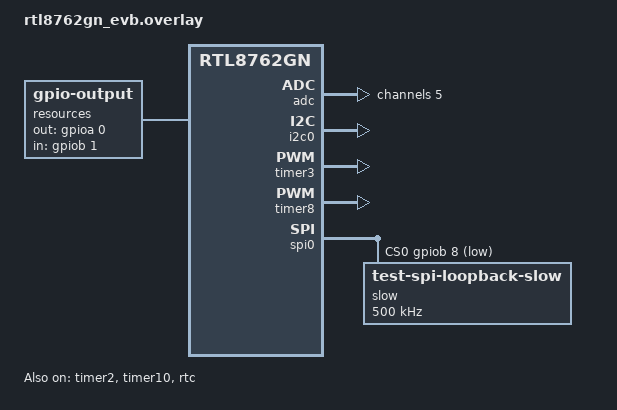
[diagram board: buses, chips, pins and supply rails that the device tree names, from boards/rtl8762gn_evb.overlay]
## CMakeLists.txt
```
# SPDX-License-Identifier: Apache-2.0

cmake_minimum_required(VERSION 3.20.0)

find_package(Zephyr REQUIRED HINTS $ENV{ZEPHYR_BASE})
project(rtl8762gn_evb_demo)

target_sources(app PRIVATE src/main.c)
```

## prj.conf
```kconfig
CONFIG_COUNTER=y
CONFIG_PWM=y
CONFIG_SPI=y
CONFIG_ADC=y
CONFIG_GPIO=y
CONFIG_I2C=y
CONFIG_SHELL=y
CONFIG_GPIO_SHELL=y
CONFIG_ADC_SHELL=y
CONFIG_SENSOR_SHELL=y
CONFIG_PWM_SHELL=y
CONFIG_COUNTER_SHELL=y
CONFIG_I2C_SHELL=y
```

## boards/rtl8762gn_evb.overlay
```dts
/*
 * SPDX-License-Identifier: Apache-2.0
 */

 &adc {
    pinctrl-0 = <&adc_default>;
    pinctrl-names = "default";
    #address-cells = <1>;
    #size-cells = <0>;
    status = "okay";
    channel@5 {
        reg = <5>;
        zephyr,gain = "ADC_GAIN_1";
        zephyr,reference = "ADC_REF_INTERNAL";
        zephyr,acquisition-time = <ADC_ACQ_TIME_DEFAULT>;
        zephyr,resolution = <12>;
    };
};

&pinctrl {
    adc_default: adc_default {
        group1 {
            psels = <RTL87X2G_PSEL(SW_MODE, P2_5,DIR_IN, DRV_LOW, PULL_DOWN)>;
        };
    };
};
 
&timer2 {
    status = "okay";
    prescaler = <1>;
};

&timer10 {
    status = "okay";
    prescaler = <1>;
};

&rtc {
    status = "okay";
    prescaler = <1>;
};


&gpioa {
    status = "okay";
};

&gpiob {
    status = "okay";
};

/ {
    resources {
        compatible = "gpio-output";
        out-gpios =
        <&gpioa 0 GPIO_ACTIVE_HIGH>;

        in-gpios =
        <&gpiob 1 GPIO_ACTIVE_HIGH>;
    };
};

&i2c0 {
    pinctrl-0 = <&i2c0_default>;
    pinctrl-names = "default";
    status = "okay";
};

&pinctrl {
    i2c0_default: i2c0_default {
        group1 {
            psels = <RTL87X2G_PSEL(I2C0_CLK, P1_5, DIR_OUT, DRV_HIGH, PULL_UP)>,
             <RTL87X2G_PSEL(I2C0_DAT, P1_6, DIR_OUT, DRV_HIGH, PULL_UP)>;
        };
    };
};

&timer3 {
   status = "okay";
   prescaler = <1>;
    pwm3: pwm3 {
        status = "okay";
        pinctrl-0 = <&pwm3_default>;
        pinctrl-names = "default";
    };
};
 
&pinctrl {
    pwm3_default: pwm3_default {
        group1 {
            psels = <RTL87X2G_PSEL(TIMER_PWM3, P0_1, DIR_OUT, DRV_LOW, PULL_DOWN)>;
        };
    };

};
 
&timer8 {
    status = "okay";
    prescaler = <1>;
    pwm8: pwm8 {
        status = "okay";
        pinctrl-0 = <&pwm8_default>;
        pinctrl-names = "default";
    };
};

&pinctrl {
    pwm8_default: pwm8_default {
        group1 {
            psels = <RTL87X2G_PSEL(ENPWM0_P, P0_2, DIR_OUT, DRV_LOW, PULL_DOWN)>;
        };
    };
};

&spi0 {
    status = "okay";
    pinctrl-0 = <&spi0_default>;
    pinctrl-names = "default";
    cs-gpios = <&gpiob 8 GPIO_ACTIVE_LOW>;
    slow@0 {
        compatible = "test-spi-loopback-slow";
        reg = <0>;
        spi-max-frequency = <500000>;
    };
};
 
&pinctrl {
    spi0_default: spi0_default {
        group1 {
            psels = <RTL87X2G_PSEL(SPI0_CLK_MASTER, P4_0, DIR_OUT, DRV_HIGH, PULL_UP)>,
            <RTL87X2G_PSEL(SPI0_MI_MASTER, P4_1, DIR_OUT, DRV_HIGH, PULL_UP)>,
            <RTL87X2G_PSEL(SPI0_MO_MASTER, P4_2, DIR_OUT, DRV_HIGH, PULL_UP)>;
        };
    };
};
```

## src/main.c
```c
/*
 * Copyright(c) 2020, Realtek Semiconductor Corporation.
 *
 * SPDX-License-Identifier: Apache-2.0
 */

#include <stdio.h>

int main(void)
{
	printf("%s demo\n", CONFIG_BOARD);
	return 0;
}
```
